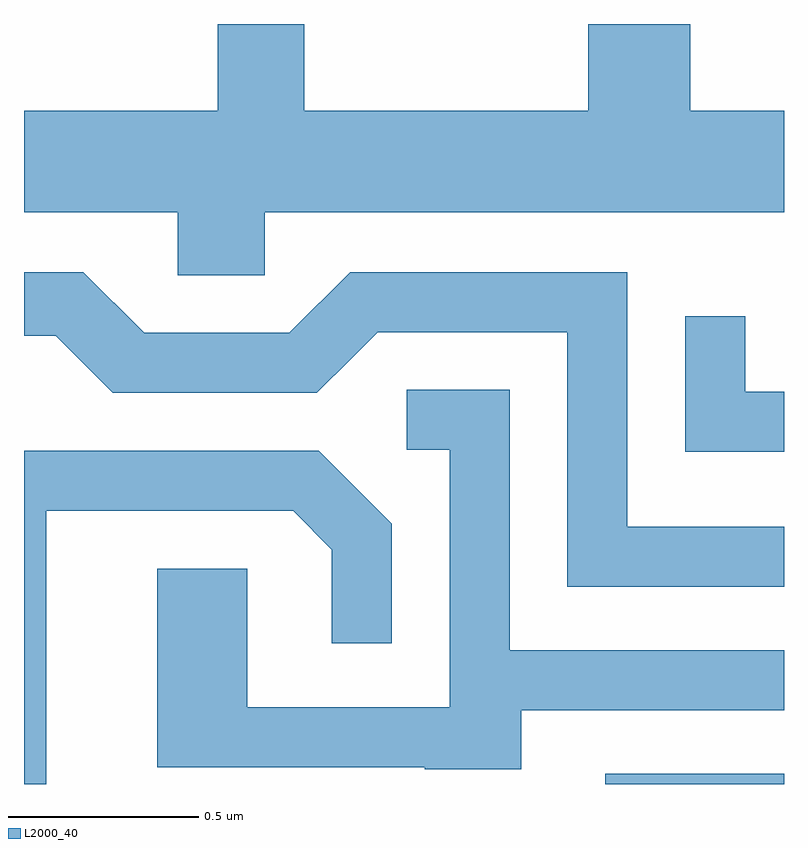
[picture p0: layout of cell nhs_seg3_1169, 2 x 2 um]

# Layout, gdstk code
import gdstk
lib = gdstk.Library(unit=1e-6, precision=1e-09)
def R(c, l, rs):  # rectangles x0, y0, x1, y1
    for r in rs: c.add(gdstk.rectangle(r[:2], r[2:], *l))
def P(c, l, *ps):  # polygons
    for p in ps: c.add(gdstk.Polygon(p, *l))
L2000_40 = (2000, 40)

nhs_seg3_1169 = lib.new_cell('nhs_seg3_1169')
R(nhs_seg3_1169, L2000_40, [(195.141,1188.892,195.611,1188.919)])
P(nhs_seg3_1169, L2000_40, [(194.244,1190.396),(195.611,1190.396),(195.611,1190.664),(195.364,1190.664),(195.364,1190.892),(195.096,1190.892),(195.096,1190.664),(194.349,1190.664),(194.349,1190.892),(194.121,1190.892),(194.121,1190.664),(193.611,1190.664),(193.611,1190.396),(194.016,1190.396),(194.016,1190.231),(194.244,1190.231)],
  [(195.611,1189.569),(195.199,1189.569),(195.199,1190.239),(194.469,1190.239),(194.309,1190.079),(193.927,1190.079),(193.767,1190.239),(193.611,1190.239),(193.611,1190.071),(193.694,1190.071),(193.844,1189.921),(194.382,1189.921),(194.473,1190.013),(194.542,1190.081),(195.041,1190.081),(195.041,1189.411),(195.611,1189.411)],
  [(195.611,1189.924),(195.509,1189.924),(195.509,1190.123),(195.351,1190.123),(195.351,1189.766),(195.611,1189.766)],
  [(194.919,1189.086),(195.611,1189.086),(195.611,1189.244),(194.889,1189.244),(194.889,1189.929),(194.618,1189.929),(194.618,1189.771),(194.731,1189.771),(194.731,1189.094),(194.199,1189.094),(194.199,1189.459),(193.961,1189.459),(193.961,1188.936),(194.665,1188.936),(194.665,1188.931),(194.919,1188.931)],
  [(193.669,1189.611),(194.319,1189.611),(194.421,1189.509),(194.421,1189.263),(194.579,1189.263),(194.579,1189.577),(194.387,1189.769),(193.611,1189.769),(193.611,1188.892),(193.669,1188.892)])

lib.write_gds('nhs_seg3_1169.gds')
